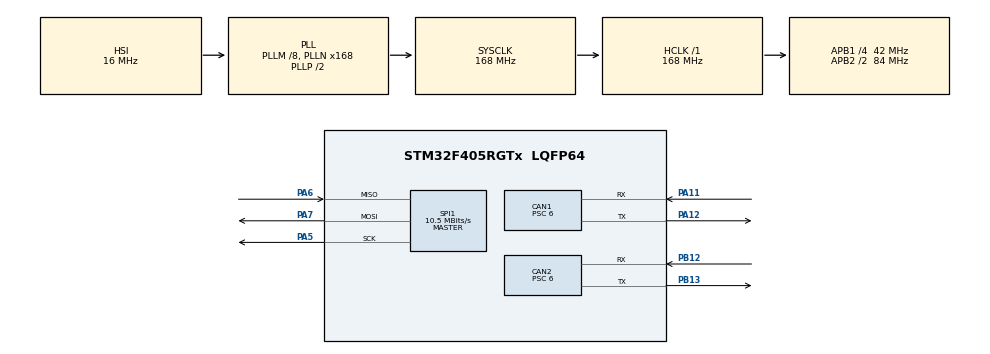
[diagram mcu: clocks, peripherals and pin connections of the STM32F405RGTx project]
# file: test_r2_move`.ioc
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CAN1.ABOM=ENABLE
CAN1.AWUM=ENABLE
CAN1.BS1=CAN_BS1_3TQ
CAN1.BS2=CAN_BS2_3TQ
CAN1.CalculateBaudRate=1000000
CAN1.CalculateTimeBit=1000
CAN1.CalculateTimeQuantum=142.85714285714286
CAN1.NART=ENABLE
CAN1.Prescaler=6
CAN2.ABOM=ENABLE
CAN2.AWUM=ENABLE
CAN2.BS1=CAN_BS1_3TQ
CAN2.BS2=CAN_BS2_3TQ
CAN2.CalculateBaudRate=1000000
CAN2.CalculateTimeBit=1000
CAN2.CalculateTimeQuantum=142.85714285714286
CAN2.NART=ENABLE
CAN2.Prescaler=6
Mcu.Family=STM32F4
Mcu.Name=STM32F405RGTx
Mcu.Package=LQFP64
NVIC.CAN1_RX0_IRQn=true\:0\:0\:false\:false\:true\:true\:true\:true
NVIC.CAN1_SCE_IRQn=true\:0\:0\:false\:false\:true\:true\:true\:true
NVIC.CAN2_RX1_IRQn=true\:0\:0\:false\:false\:true\:true\:true\:true
NVIC.CAN2_SCE_IRQn=true\:0\:0\:false\:false\:true\:true\:true\:true
NVIC.PriorityGroup=NVIC_PRIORITYGROUP_4
PA11.Mode=CAN_Activate
PA11.Signal=CAN1_RX
PA12.Mode=CAN_Activate
PA12.Signal=CAN1_TX
PA13.Mode=Serial_Wire
PA13.Signal=SYS_JTMS-SWDIO
PA14.Mode=Serial_Wire
PA14.Signal=SYS_JTCK-SWCLK
PA5.Mode=Full_Duplex_Master
PA5.Signal=SPI1_SCK
PA6.Mode=Full_Duplex_Master
PA6.Signal=SPI1_MISO
PA7.Mode=Full_Duplex_Master
PA7.Signal=SPI1_MOSI
PB12.Mode=CAN_Activate
PB12.Signal=CAN2_RX
PB13.Mode=CAN_Activate
PB13.Signal=CAN2_TX
PC14-OSC32_IN.Mode=LSE-External-Oscillator
PC14-OSC32_IN.Signal=RCC_OSC32_IN
PC15-OSC32_OUT.Mode=LSE-External-Oscillator
PC15-OSC32_OUT.Signal=RCC_OSC32_OUT
PH0-OSC_IN.Mode=HSE-External-Oscillator
PH0-OSC_IN.Signal=RCC_OSC_IN
PH1-OSC_OUT.Mode=HSE-External-Oscillator
PH1-OSC_OUT.Signal=RCC_OSC_OUT
ProjectManager.HeapSize=0x200
ProjectManager.StackSize=0x400
ProjectManager.TargetToolchain=MDK-ARM V5.32
RCC.48MHZClocksFreq_Value=84000000
RCC.AHBFreq_Value=168000000
RCC.APB1CLKDivider=RCC_HCLK_DIV4
RCC.APB1Freq_Value=42000000
RCC.APB1TimFreq_Value=84000000
RCC.APB2CLKDivider=RCC_HCLK_DIV2
RCC.APB2Freq_Value=84000000
RCC.APB2TimFreq_Value=168000000
RCC.CortexFreq_Value=168000000
RCC.HCLKFreq_Value=168000000
RCC.HSE_VALUE=25000000
RCC.HSI_VALUE=16000000
RCC.PLLM=8
RCC.PLLN=168
RCC.SYSCLKFreq_VALUE=168000000
RCC.SYSCLKSource=RCC_SYSCLKSOURCE_PLLCLK
RCC.VCOOutputFreq_Value=336000000
SPI1.BaudRatePrescaler=SPI_BAUDRATEPRESCALER_8
SPI1.CalculateBaudRate=10.5 MBits/s
SPI1.Direction=SPI_DIRECTION_2LINES
SPI1.Mode=SPI_MODE_MASTER
SPI1.VirtualType=VM_MASTER
board=custom

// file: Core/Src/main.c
/* USER CODE BEGIN Header */
/**
  ******************************************************************************
  * @file           : main.c
  * @brief          : Main program body
  ******************************************************************************
  * @attention
  *
  * Copyright (c) 2023 STMicroelectronics.
  * All rights reserved.
  *
  * This software is licensed under terms that can be found in the LICENSE file
  * in the root directory of this software component.
  * If no LICENSE file comes with this software, it is provided AS-IS.
  *
  ******************************************************************************
  */
/* USER CODE END Header */
#include "main.h"
#include "can.h"
#include "spi.h"
#include "gpio.h"

/* USER CODE BEGIN Includes */
#include "can_bsp.h"
#include "move.h"
#include "communication.h"
#include "RM3508.h"

/* USER CODE END Includes */

/* USER CODE BEGIN PV */
int max_speed =500 ;
float VX=0;
float VY=0;
float VZ=0;
extern uint8_t RxData[];

/* USER CODE END PV */

void SystemClock_Config(void);

int main(void)
{

  /* MCU Configuration--------------------------------------------------------*/

  /* Reset of all peripherals, Initializes the Flash interface and the Systick. */
  HAL_Init();

  /* Configure the system clock */
  SystemClock_Config();

  /* Initialize all configured peripherals */
  MX_GPIO_Init();
  MX_CAN1_Init();
  MX_CAN2_Init();
  MX_SPI1_Init();
  /* USER CODE BEGIN 2 */
	CAN_Init(&hcan1);
	CAN_Init(&hcan2);

  /* USER CODE END 2 */

  /* Infinite loop */
  while (1)
  {

    /* USER CODE BEGIN 3 */
		GET_XY_value();
		GET_Z_value();
		Motor_Start();
		HAL_Delay(1);
  }
  /* USER CODE END 3 */
}

void SystemClock_Config(void)
{
  RCC_OscInitTypeDef RCC_OscInitStruct = {0};
  RCC_ClkInitTypeDef RCC_ClkInitStruct = {0};

  /** Configure the main internal regulator output voltage
  */
  __HAL_RCC_PWR_CLK_ENABLE();
  __HAL_PWR_VOLTAGESCALING_CONFIG(PWR_REGULATOR_VOLTAGE_SCALE1);

  /** Initializes the RCC Oscillators according to the specified parameters
  * in the RCC_OscInitTypeDef structure.
  */
  RCC_OscInitStruct.OscillatorType = RCC_OSCILLATORTYPE_HSI;
  RCC_OscInitStruct.HSIState = RCC_HSI_ON;
  RCC_OscInitStruct.HSICalibrationValue = RCC_HSICALIBRATION_DEFAULT;
  RCC_OscInitStruct.PLL.PLLState = RCC_PLL_ON;
  RCC_OscInitStruct.PLL.PLLSource = RCC_PLLSOURCE_HSI;
  RCC_OscInitStruct.PLL.PLLM = 8;
  RCC_OscInitStruct.PLL.PLLN = 168;
  RCC_OscInitStruct.PLL.PLLP = RCC_PLLP_DIV2;
  RCC_OscInitStruct.PLL.PLLQ = 4;
  if (HAL_RCC_OscConfig(&RCC_OscInitStruct) != HAL_OK)
  {
    Error_Handler();
  }

  /** Initializes the CPU, AHB and APB buses clocks
  */
  RCC_ClkInitStruct.ClockType = RCC_CLOCKTYPE_HCLK|RCC_CLOCKTYPE_SYSCLK
                              |RCC_CLOCKTYPE_PCLK1|RCC_CLOCKTYPE_PCLK2;
  RCC_ClkInitStruct.SYSCLKSource = RCC_SYSCLKSOURCE_PLLCLK;
  RCC_ClkInitStruct.AHBCLKDivider = RCC_SYSCLK_DIV1;
  RCC_ClkInitStruct.APB1CLKDivider = RCC_HCLK_DIV4;
  RCC_ClkInitStruct.APB2CLKDivider = RCC_HCLK_DIV2;

  if (HAL_RCC_ClockConfig(&RCC_ClkInitStruct, FLASH_LATENCY_5) != HAL_OK)
  {
    Error_Handler();
  }
}

/* USER CODE BEGIN 4 */

void HAL_CAN_RxFifo1MsgPendingCallback(CAN_HandleTypeDef *hcan)
{

  if (hcan->Instance == hcan2.Instance)
  {
    CAN_RxHeaderTypeDef RxMessage;
    uint8_t RxData[8] = {0};
    HAL_CAN_GetRxMessage(&hcan2, CAN_RX_FIFO1, &RxMessage, RxData);

    if (RxMessage.IDE == CAN_ID_STD) // ��׼֡
    {
      if (RxMessage.StdId == 0x050)
        centerDecode(RxMessage.StdId, RxData);
    }

  }
}
void HAL_CAN_RxFifo0MsgPendingCallback(CAN_HandleTypeDef *hcan)
{
	if(hcan->Instance == hcan1.Instance)
	{
		CAN_RxHeaderTypeDef RxMessage;
		uint8_t RxData[8] = {0};

		HAL_CAN_GetRxMessage(&hcan1, CAN_RX_FIFO0, &RxMessage, RxData);

		if(RxMessage.IDE==CAN_ID_STD)
		{
			if(RxMessage.StdId>=0x201&&RxMessage.StdId<=0x208)
			{
				RM3508_Get_Feedback(RxMessage.StdId, RxData);
			}
		}
		/*�Լ�д��������*/

	}
}

/* USER CODE END 4 */

void Error_Handler(void)
{
  __disable_irq();
  while (1)
  {
  }
}
